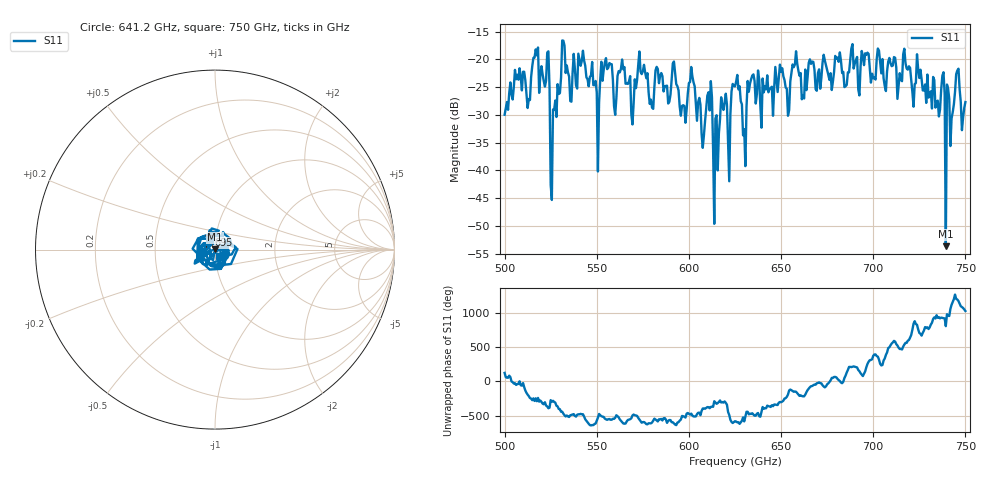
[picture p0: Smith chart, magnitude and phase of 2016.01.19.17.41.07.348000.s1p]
!Created with skrf (http://scikit-rf.org).
# GHz S RI R 50.0
!freq ReS11 ImS11
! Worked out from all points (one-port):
!   401 points, 500 GHz to 750 GHz, reference 50 ohm
!   lowest |S11| = -53.7 dB at 739.4 GHz (marker M1), VSWR 1.00, Z = 50 + j0.207 ohm
!   |S11| at or under -10 dB: start of sweep to end of sweep
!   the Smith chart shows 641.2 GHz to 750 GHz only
!   S11 on the Smith chart (normalised r, x): 641.2 GHz: 1.10, -0.06; 695 GHz: 0.92, +0.15; 750 GHz: 1.05, -0.07
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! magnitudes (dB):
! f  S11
! 500 GHz  -30.0
! 506.9 GHz  -22.8
! 513.1 GHz  -27.1
! 516.9 GHz  -18.2
! 523.1 GHz  -18.8
! 526.2 GHz  -29.0
! 531.2 GHz  -16.6
! 550 GHz  -26.0
! 553.8 GHz  -21.9
! 562.5 GHz  -22.3
! 570 GHz  -28.0
! 573.8 GHz  -22.2
! 593.8 GHz  -24.8
! 601.9 GHz  -23.1
! 608.1 GHz  -33.7
! 611.2 GHz  -29.2
! 614.4 GHz  -30.6
! 625 GHz  -24.9
! 630 GHz  -32.6
! 633.1 GHz  -24.4
! 641.2 GHz  -24.8
! 656.2 GHz  -20.9
! 687.5 GHz  -20.2
! 695 GHz  -21.0
! 718.8 GHz  -21.8
! 739.4 GHz  -53.7
! 745.6 GHz  -22.0
! 750 GHz  -27.7
